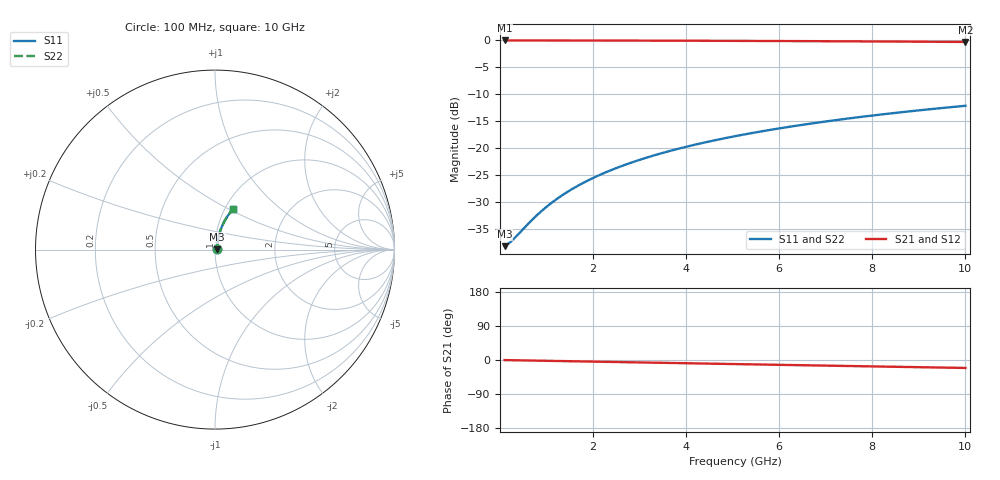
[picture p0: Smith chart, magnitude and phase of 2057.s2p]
# Hz S RI R 50.00
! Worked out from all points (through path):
!   100 points, 100 MHz to 10 GHz, reference 50 ohm
!   highest |S21| = -0.10 dB at 100 MHz (marker M1); lowest = -0.4 dB at 10 GHz (marker M2)
!   group delay of S21, straight-line fit = 5.84 ps
!   lowest |S11| = -38.3 dB at 100 MHz (marker M3), VSWR 1.02, Z = 51.2 + j0.256 ohm
!   |S11| at or under -10 dB: start of sweep to end of sweep
!   |S22| runs from -38.3 to -12.2 dB; largest |S21 - S12| = 0
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1e8  0.0119 0.0025  0.9881 -0.00368  0.9881 -0.00368  0.0119 0.0025
2e8  0.012 0.005  0.988 -0.00737  0.988 -0.00737  0.012 0.005
3e8  0.0121 0.0075  0.9878 -0.0111  0.9878 -0.0111  0.0121 0.0075
7e8  0.0127 0.0175  0.9873 -0.0258  0.9873 -0.0258  0.0127 0.0175
8e8  0.0128 0.02  0.9871 -0.0294  0.9871 -0.0294  0.0128 0.02
1e9  0.0132 0.025  0.9867 -0.0368  0.9867 -0.0368  0.0132 0.025
1.2e9  0.0137 0.0299  0.9862 -0.0441  0.9862 -0.0441  0.0137 0.0299
1.4e9  0.0142 0.0349  0.9856 -0.0515  0.9856 -0.0515  0.0142 0.0349
1.6e9  0.0148 0.0399  0.985 -0.0588  0.985 -0.0588  0.0148 0.0399
1.8e9  0.0155 0.0448  0.9843 -0.0661  0.9843 -0.0661  0.0155 0.0448
2.1e9  0.0166 0.0522  0.9831 -0.0771  0.9831 -0.0771  0.0166 0.0522
2.5e9  0.0183 0.062  0.9812 -0.0916  0.9812 -0.0916  0.0183 0.062
2.9e9  0.0204 0.0717  0.979 -0.1061  0.979 -0.1061  0.0204 0.0717
3.4e9  0.0233 0.0838  0.9758 -0.1241  0.9758 -0.1241  0.0233 0.0838
3.8e9  0.026 0.0934  0.9729 -0.1384  0.9729 -0.1384  0.026 0.0934
4.2e9  0.0289 0.1028  0.9698 -0.1526  0.9698 -0.1526  0.0289 0.1028
5.1e9  0.0366 0.1237  0.9615 -0.1842  0.9615 -0.1842  0.0366 0.1237
5.9e9  0.0444 0.1417  0.953 -0.2117  0.953 -0.2117  0.0444 0.1417
6.7e9  0.0533 0.1591  0.9434 -0.2387  0.9434 -0.2387  0.0533 0.1591
7.5e9  0.0631 0.1759  0.9328 -0.265  0.9328 -0.265  0.0631 0.1759
8.4e9  0.0752 0.1939  0.9197 -0.2938  0.9197 -0.2938  0.0752 0.1939
1e10  0.0992 0.2236  0.8935 -0.3428  0.8935 -0.3428  0.0992 0.2236
